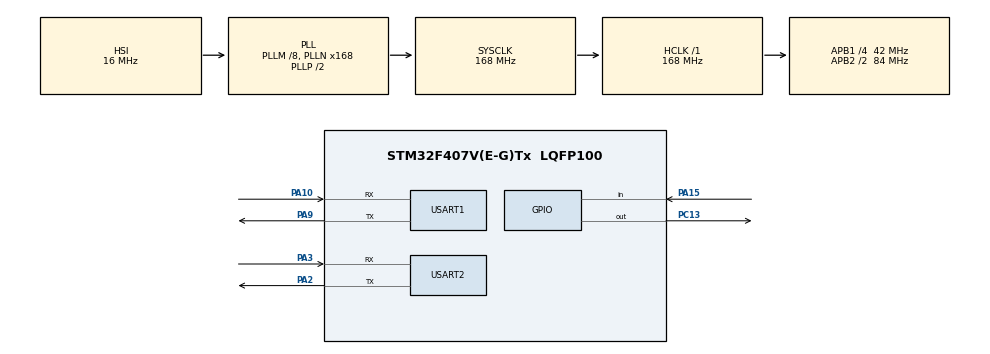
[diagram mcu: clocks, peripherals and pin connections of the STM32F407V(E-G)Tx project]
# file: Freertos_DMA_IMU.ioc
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Dma.Request0=USART1_RX
Dma.Request1=USART1_TX
Dma.Request2=USART2_RX
Dma.USART1_RX.0.Direction=DMA_PERIPH_TO_MEMORY
Dma.USART1_RX.0.FIFOMode=DMA_FIFOMODE_DISABLE
Dma.USART1_RX.0.Instance=DMA2_Stream2
Dma.USART1_RX.0.MemDataAlignment=DMA_MDATAALIGN_BYTE
Dma.USART1_RX.0.MemInc=DMA_MINC_ENABLE
Dma.USART1_RX.0.Mode=DMA_NORMAL
Dma.USART1_RX.0.PeriphDataAlignment=DMA_PDATAALIGN_BYTE
Dma.USART1_RX.0.PeriphInc=DMA_PINC_DISABLE
Dma.USART1_RX.0.Priority=DMA_PRIORITY_MEDIUM
Dma.USART1_TX.1.Direction=DMA_MEMORY_TO_PERIPH
Dma.USART1_TX.1.FIFOMode=DMA_FIFOMODE_DISABLE
Dma.USART1_TX.1.Instance=DMA2_Stream7
Dma.USART1_TX.1.MemDataAlignment=DMA_MDATAALIGN_BYTE
Dma.USART1_TX.1.MemInc=DMA_MINC_ENABLE
Dma.USART1_TX.1.Mode=DMA_NORMAL
Dma.USART1_TX.1.PeriphDataAlignment=DMA_PDATAALIGN_BYTE
Dma.USART1_TX.1.PeriphInc=DMA_PINC_DISABLE
Dma.USART1_TX.1.Priority=DMA_PRIORITY_MEDIUM
Dma.USART2_RX.2.Direction=DMA_PERIPH_TO_MEMORY
Dma.USART2_RX.2.FIFOMode=DMA_FIFOMODE_DISABLE
Dma.USART2_RX.2.Instance=DMA1_Stream5
Dma.USART2_RX.2.MemDataAlignment=DMA_MDATAALIGN_BYTE
Dma.USART2_RX.2.MemInc=DMA_MINC_ENABLE
Dma.USART2_RX.2.Mode=DMA_CIRCULAR
Dma.USART2_RX.2.PeriphDataAlignment=DMA_PDATAALIGN_BYTE
Dma.USART2_RX.2.PeriphInc=DMA_PINC_DISABLE
Dma.USART2_RX.2.Priority=DMA_PRIORITY_MEDIUM
FREERTOS.Tasks01=defaultTask,-3,128,StartDefaultTask,Default,NULL,Dynamic,NULL,NULL;myTask_key,1,128,key_Task,Default,NULL,Dynamic,NULL,NULL;myTask_led,-3,128,led_Task,Default,NULL,Dynamic,NULL,NULL;myTask_IMU,1,128,IMU_Task,Default,NULL,Dynamic,NULL,NULL;myTask_debug,-2,128,deubg_Task,Default,NULL,Dynamic,NULL,NULL
Mcu.Family=STM32F4
Mcu.Name=STM32F407V(E-G)Tx
Mcu.Package=LQFP100
NVIC.DMA1_Stream5_IRQn=true\:5\:0\:false\:false\:true\:true\:false\:true
NVIC.DMA2_Stream2_IRQn=true\:5\:0\:false\:false\:true\:true\:false\:true
NVIC.DMA2_Stream7_IRQn=true\:5\:0\:false\:false\:true\:true\:false\:true
NVIC.PriorityGroup=NVIC_PRIORITYGROUP_4
NVIC.TIM7_IRQn=true\:0\:0\:false\:false\:true\:false\:false\:true
NVIC.TimeBase=TIM7_IRQn
NVIC.TimeBaseIP=TIM7
NVIC.USART1_IRQn=true\:5\:0\:false\:false\:true\:true\:true\:true
NVIC.USART2_IRQn=true\:5\:0\:false\:false\:true\:true\:true\:true
PA10.Mode=Asynchronous
PA10.Signal=USART1_RX
PA13.Mode=Serial_Wire
PA13.Signal=SYS_JTMS-SWDIO
PA14.Mode=Serial_Wire
PA14.Signal=SYS_JTCK-SWCLK
PA15.GPIO_PuPd=GPIO_PULLUP
PA15.Signal=GPIO_Input
PA2.Mode=Asynchronous
PA2.Signal=USART2_TX
PA3.Mode=Asynchronous
PA3.Signal=USART2_RX
PA9.Mode=Asynchronous
PA9.Signal=USART1_TX
PC13-ANTI_TAMP.GPIO_Speed=GPIO_SPEED_FREQ_LOW
PC13-ANTI_TAMP.Signal=GPIO_Output
PH0-OSC_IN.Mode=HSE-External-Oscillator
PH0-OSC_IN.Signal=RCC_OSC_IN
PH1-OSC_OUT.Mode=HSE-External-Oscillator
PH1-OSC_OUT.Signal=RCC_OSC_OUT
ProjectManager.HeapSize=0x200
ProjectManager.StackSize=0x400
ProjectManager.TargetToolchain=MDK-ARM V5.27
RCC.48MHZClocksFreq_Value=84000000
RCC.AHBFreq_Value=168000000
RCC.APB1CLKDivider=RCC_HCLK_DIV4
RCC.APB1Freq_Value=42000000
RCC.APB1TimFreq_Value=84000000
RCC.APB2CLKDivider=RCC_HCLK_DIV2
RCC.APB2Freq_Value=84000000
RCC.APB2TimFreq_Value=168000000
RCC.CortexFreq_Value=168000000
RCC.HCLKFreq_Value=168000000
RCC.HSE_VALUE=8000000
RCC.HSI_VALUE=16000000
RCC.LSE_VALUE=32768
RCC.PLLM=8
RCC.PLLN=168
RCC.SYSCLKFreq_VALUE=168000000
RCC.SYSCLKSource=RCC_SYSCLKSOURCE_PLLCLK
RCC.VCOOutputFreq_Value=336000000
USART1.VirtualMode=VM_ASYNC
USART2.VirtualMode=VM_ASYNC
VP_FREERTOS_VS_CMSIS_V1.Mode=CMSIS_V1
VP_SYS_VS_tim7.Mode=TIM7
board=custom

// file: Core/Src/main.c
/* USER CODE BEGIN Header */
/**
  ******************************************************************************
  * @file           : main.c
  * @brief          : Main program body
  ******************************************************************************
  * @attention
  *
  * <h2><center>&copy; Copyright (c) 2023 STMicroelectronics.
  * All rights reserved.</center></h2>
  *
  * This software component is licensed by ST under Ultimate Liberty license
  * SLA0044, the "License"; You may not use this file except in compliance with
  * the License. You may obtain a copy of the License at:
  *                             www.st.com/SLA0044
  *
  ******************************************************************************
  */
/* USER CODE END Header */
#include "main.h"
#include "cmsis_os.h"
#include "dma.h"
#include "usart.h"
#include "gpio.h"

void SystemClock_Config(void);
void MX_FREERTOS_Init(void);

int main(void)
{

  /* MCU Configuration--------------------------------------------------------*/

  /* Reset of all peripherals, Initializes the Flash interface and the Systick. */
  HAL_Init();

  /* Configure the system clock */
  SystemClock_Config();

  /* Initialize all configured peripherals */
  MX_GPIO_Init();
  MX_DMA_Init();
  MX_USART1_UART_Init();
  MX_USART2_UART_Init();

  /* Call init function for freertos objects (in freertos.c) */
  MX_FREERTOS_Init();
  /* Start scheduler */
  osKernelStart();

  /* We should never get here as control is now taken by the scheduler */
  /* Infinite loop */
  while (1)
  {

  }
}

void SystemClock_Config(void)
{
  RCC_OscInitTypeDef RCC_OscInitStruct = {0};
  RCC_ClkInitTypeDef RCC_ClkInitStruct = {0};

  /** Configure the main internal regulator output voltage
  */
  __HAL_RCC_PWR_CLK_ENABLE();
  __HAL_PWR_VOLTAGESCALING_CONFIG(PWR_REGULATOR_VOLTAGE_SCALE1);
  /** Initializes the RCC Oscillators according to the specified parameters
  * in the RCC_OscInitTypeDef structure.
  */
  RCC_OscInitStruct.OscillatorType = RCC_OSCILLATORTYPE_HSI;
  RCC_OscInitStruct.HSIState = RCC_HSI_ON;
  RCC_OscInitStruct.HSICalibrationValue = RCC_HSICALIBRATION_DEFAULT;
  RCC_OscInitStruct.PLL.PLLState = RCC_PLL_ON;
  RCC_OscInitStruct.PLL.PLLSource = RCC_PLLSOURCE_HSI;
  RCC_OscInitStruct.PLL.PLLM = 8;
  RCC_OscInitStruct.PLL.PLLN = 168;
  RCC_OscInitStruct.PLL.PLLP = RCC_PLLP_DIV2;
  RCC_OscInitStruct.PLL.PLLQ = 4;
  if (HAL_RCC_OscConfig(&RCC_OscInitStruct) != HAL_OK)
  {
    Error_Handler();
  }
  /** Initializes the CPU, AHB and APB buses clocks
  */
  RCC_ClkInitStruct.ClockType = RCC_CLOCKTYPE_HCLK|RCC_CLOCKTYPE_SYSCLK
                              |RCC_CLOCKTYPE_PCLK1|RCC_CLOCKTYPE_PCLK2;
  RCC_ClkInitStruct.SYSCLKSource = RCC_SYSCLKSOURCE_PLLCLK;
  RCC_ClkInitStruct.AHBCLKDivider = RCC_SYSCLK_DIV1;
  RCC_ClkInitStruct.APB1CLKDivider = RCC_HCLK_DIV4;
  RCC_ClkInitStruct.APB2CLKDivider = RCC_HCLK_DIV2;

  if (HAL_RCC_ClockConfig(&RCC_ClkInitStruct, FLASH_LATENCY_5) != HAL_OK)
  {
    Error_Handler();
  }
}

 /**
  * @brief  Period elapsed callback in non blocking mode
  * @note   This function is called  when TIM7 interrupt took place, inside
  * HAL_TIM_IRQHandler(). It makes a direct call to HAL_IncTick() to increment
  * a global variable "uwTick" used as application time base.
  * @param  htim : TIM handle
  * @retval None
  */
void HAL_TIM_PeriodElapsedCallback(TIM_HandleTypeDef *htim)
{
  if (htim->Instance == TIM7) {
    HAL_IncTick();
  }
}

void Error_Handler(void)
{
  __disable_irq();
  while (1)
  {
  }
}

/************************ (C) COPYRIGHT STMicroelectronics *****END OF FILE****/

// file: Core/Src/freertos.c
/* USER CODE BEGIN Header */
/**
  ******************************************************************************
  * File Name          : freertos.c
  * Description        : Code for freertos applications
  ******************************************************************************
  * @attention
  *
  * <h2><center>&copy; Copyright (c) 2023 STMicroelectronics.
  * All rights reserved.</center></h2>
  *
  * This software component is licensed by ST under Ultimate Liberty license
  * SLA0044, the "License"; You may not use this file except in compliance with
  * the License. You may obtain a copy of the License at:
  *                             www.st.com/SLA0044
  *
  ******************************************************************************
  */
/* USER CODE END Header */

#include "FreeRTOS.h"
#include "task.h"
#include "main.h"
#include "cmsis_os.h"

/* USER CODE BEGIN Includes */
#include "soft_user.h"
#include <string.h>
/* USER CODE END Includes */

/* USER CODE BEGIN PTD */
typedef struct Car_status
{
    uint16_t Car_speed[4];
    float IMU[3];
    uint16_t ditance_x;
    uint16_t ditance_y;
    uint8_t task;
}Car_status;

char task_test_text[]="简单的测试任务";
/* USER CODE END PTD */

/* USER CODE BEGIN PD */
#define Led_Toggle GPIOC->ODR^=GPIO_PIN_13
#define task_test 0X00
/* USER CODE END PD */

/* USER CODE BEGIN PM */
extern UART_HandleTypeDef huart1;
extern UART_HandleTypeDef huart2;
uint8_t debug_date[400]={0};

Car_status car_status;

/* USER CODE END PM */

osThreadId defaultTaskHandle;
osThreadId myTask_keyHandle;
osThreadId myTask_ledHandle;
osThreadId myTask_IMUHandle;
osThreadId myTask_debugHandle;

void StartDefaultTask(void const * argument);
void key_Task(void const * argument);
void led_Task(void const * argument);
void IMU_Task(void const * argument);
void deubg_Task(void const * argument);

void MX_FREERTOS_Init(void); /* (MISRA C 2004 rule 8.1) */

/* GetIdleTaskMemory prototype (linked to static allocation support) */
void vApplicationGetIdleTaskMemory( StaticTask_t **ppxIdleTaskTCBBuffer, StackType_t **ppxIdleTaskStackBuffer, uint32_t *pulIdleTaskStackSize );

/* USER CODE BEGIN GET_IDLE_TASK_MEMORY */
static StaticTask_t xIdleTaskTCBBuffer;
static StackType_t xIdleStack[configMINIMAL_STACK_SIZE];

void vApplicationGetIdleTaskMemory( StaticTask_t **ppxIdleTaskTCBBuffer, StackType_t **ppxIdleTaskStackBuffer, uint32_t *pulIdleTaskStackSize )
{
  *ppxIdleTaskTCBBuffer = &xIdleTaskTCBBuffer;
  *ppxIdleTaskStackBuffer = &xIdleStack[0];
  *pulIdleTaskStackSize = configMINIMAL_STACK_SIZE;
  /* place for user code */
}
/* USER CODE END GET_IDLE_TASK_MEMORY */

void MX_FREERTOS_Init(void) {

  /* Create the thread(s) */
  /* definition and creation of defaultTask */
  osThreadDef(defaultTask, StartDefaultTask, osPriorityIdle, 0, 128);
  defaultTaskHandle = osThreadCreate(osThread(defaultTask), NULL);

  /* definition and creation of myTask_key */
  osThreadDef(myTask_key, key_Task, osPriorityAboveNormal, 0, 512);
  myTask_keyHandle = osThreadCreate(osThread(myTask_key), NULL);

  /* definition and creation of myTask_led */
  osThreadDef(myTask_led, led_Task, osPriorityIdle, 0, 512);
  myTask_ledHandle = osThreadCreate(osThread(myTask_led), NULL);

  /* definition and creation of myTask_IMU */
  osThreadDef(myTask_IMU, IMU_Task, osPriorityAboveNormal, 0, 512);
  myTask_IMUHandle = osThreadCreate(osThread(myTask_IMU), NULL);

  /* definition and creation of myTask_debug */
  osThreadDef(myTask_debug, deubg_Task, osPriorityLow, 0, 512);
  myTask_debugHandle = osThreadCreate(osThread(myTask_debug), NULL);

}

void StartDefaultTask(void const * argument)
{
  /* USER CODE BEGIN StartDefaultTask */
  /* Infinite loop */
  for(;;)
  {
      Led_Toggle;
    osDelay(100);
  }
  /* USER CODE END StartDefaultTask */
}

void key_Task(void const * argument)
{
  for(;;)
  {
    osDelay(1);
  }
}

void led_Task(void const * argument)
{
  /* USER CODE BEGIN led_Task */
  /* Infinite loop */
  for(;;)
  {
      if((GPIOA->IDR&(1<<15))==0)
      {
          osDelay(10);
          if((GPIOA->IDR&(1<<15))==0)
          {
              while((GPIOA->IDR&(1<<15))==0);
              /*do something*/
              printf("按键触发\n");

          }
      }
    osDelay(1);
  }
  /* USER CODE END led_Task */
}

void IMU_Task(void const * argument)
{
  for(;;)
  {
    osDelay(1);
  }
}

/* USER CODE BEGIN Header_deubg_Task */
/**
* @brief 小车状态上传任务，使用串口一DMA发送，运行周期1000ms
* @param argument: Not used
* @retval None
*/
/* USER CODE END Header_deubg_Task */
void deubg_Task(void const * argument)
{
  /* USER CODE BEGIN deubg_Task */
  /* Infinite loop */
  for(;;)
  {
      char task_description[20];

      switch(car_status.task)
      {
          case task_test:
              strcpy(task_description, task_test_text);
          break;
          default:
              /*error*/
          break;
      }

      sprintf((char*)debug_date,"车身位置：X：%dcm  Y:%dcm\n\
                               \n车身状态： Pitch:%.3f   Roll:%.3f    Yaw:%.3f\n\
                               \n四轮转速：\
                               \nMotor1:%d     Motor1:%d \
                               \nMotor3:%d     Motor4:%d\n\
                               \n当前任务: %s\n\n\n",\
                                car_status.ditance_x,car_status.ditance_y,car_status.IMU[0],car_status.IMU[1],car_status.IMU[2],\
                                car_status.Car_speed[0],car_status.Car_speed[1],car_status.Car_speed[2],car_status.Car_speed[3],task_description);

      HAL_UART_Transmit_DMA(&huart1,debug_date,400);
      osDelay(1000);
  }
  /* USER CODE END deubg_Task */
}

/************************ (C) COPYRIGHT STMicroelectronics *****END OF FILE****/
